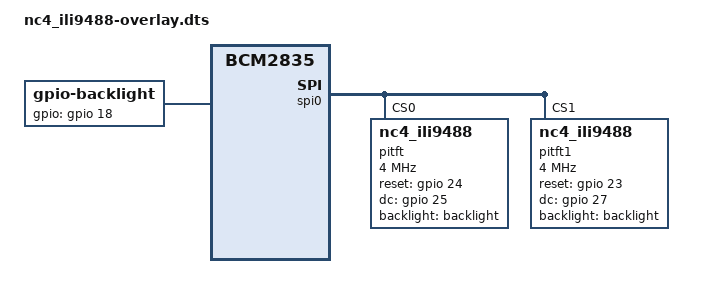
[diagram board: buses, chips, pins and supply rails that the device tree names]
/*
 * Enhanced Device Tree overlay for ILI-9488
 * Modified to support two displays (pitft0@0 and pitft1@1)
 *
 * Notes:
 * - This overlay enables SPI0 and configures two ILI9488 devices on CE0 and CE1.
 * - Each display node uses a unique DC and RESET GPIO line.
 * - Both displays share the same SPI lines (MOSI, SCLK) and the same backlight.
 * - The "pitft_pins_0" and "pitft_pins_1" pinctrl groups are used to set these GPIOs as outputs.
 */

/dts-v1/;
/plugin/;

/ {
	compatible = "brcm,bcm2835";

	/* Fragment to enable SPI0 hardware */
	fragment@0 {
		target = <&spi0>;
		__overlay__ {
			status = "okay";
		};
	};

	/* Fragment to disable the default spidev0 device */
	fragment@1 {
		target = <&spidev0>;
		__overlay__ {
			status = "disabled";
		};
	};

	/* Fragment to disable the default spidev0 device (SPI0 CS1) */
	fragment@2 {
		target = <&spidev1>;
		__overlay__ {
			status = "disabled";
		};
	};

	/* Fragment for the first display's pins (LCD_0):
	 * GPIO24 = RESET (out)
	 * GPIO25 = DC (out)
	 * GPIO18 = Backlight (out, shared)
	 */
	fragment@3 {
		target = <&gpio>;
		__overlay__ {
			pitft_pins: pitft_pins_0 {
				brcm,pins = <24 25 18>;
				brcm,function = <1 1 1>; /* set as output */
			};
		};
	};

	/* Fragment for the first ILI9488 device node (LCD_0) on SPI0 CE0 */
	fragment@4 {
		target = <&spi0>;
		__overlay__ {
			#address-cells = <1>;
			#size-cells = <0>;

			pitft: pitft0@0 {
				compatible = "nc4_ili9488";
				pinctrl-names = "default";
				pinctrl-0 = <&pitft_pins_0>;

				reg = <0>; /* CE0 line */
				spi-max-frequency = <4000000>;

				/* Rotation, DC, RESET and backlight for the first panel */
				rotation = <0>;
				reset-gpios = <&gpio 24 0>;
				dc-gpios = <&gpio 25 0>;
				backlight = <&backlight>;
			};
		};
	};

	/* Fragment defining the backlight control, shared by all displays */
	fragment@5 {
		target-path = "/soc";
		__overlay__ {
			backlight: backlight {
				compatible = "gpio-backlight";
				gpios = <&gpio 18 0>;
			};
		};
	};

	/* Fragment for the second display's pins (LCD_1):
	 * GPIO23 = RESET (out)
	 * GPIO27 = DC (out)
	 * Note: Backlight is shared and already defined above.
	 */
	fragment@6 {
		target = <&gpio>;
		__overlay__ {
			pitft_pins_1: pitft_pins_1 {
				brcm,pins = <23 27>;
				brcm,function = <1 1>; /* set as output */
			};
		};
	};

	/* Fragment for the second ILI9488 device node (LCD_1) on SPI0 CE1 */
	fragment@7 {
		target = <&spi0>;
		__overlay__ {
			#address-cells = <1>;
			#size-cells = <0>;
			
			pitft1: pitft1@1 {
				compatible = "nc4_ili9488";
				pinctrl-names = "default";
				pinctrl-0 = <&pitft_pins_1>;

				reg = <1>; /* CE1 line */
				spi-max-frequency = <4000000>;

				/* Rotation, DC, RESET for the second panel, share same backlight */
				rotation = <0>;
				reset-gpios = <&gpio 23 0>;
				dc-gpios = <&gpio 27 0>;
				backlight = <&backlight>;
			};
		};
	};

	/* Override parameters for speed and rotation */
	// TODO: Determine if commented out version is the best approach
	__overrides__ {
		speed = <&pitft0>,"spi-max-frequency:0",
				<&pitft1>,"spi-max-frequency:0";
		rotation = <&pitft0>,"rotation:0",
					<&pitft1>,"rotation:0";

	};
};
